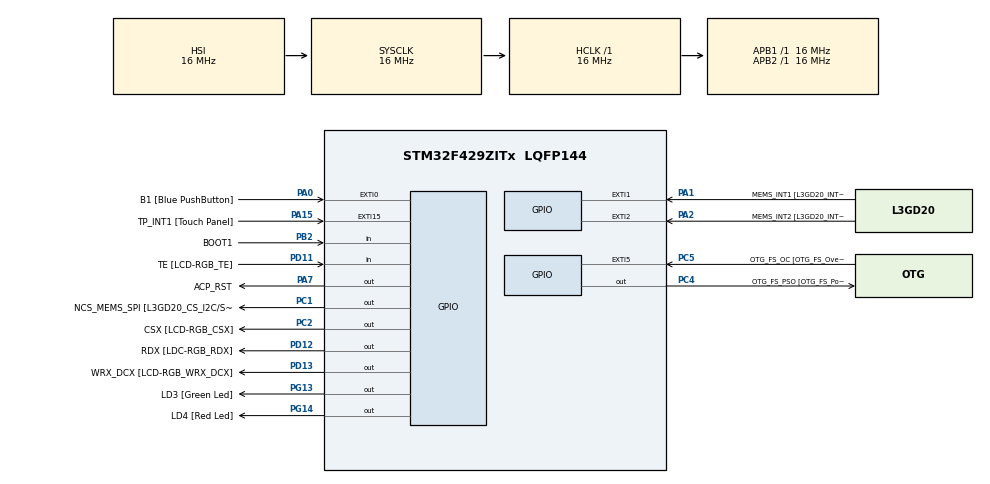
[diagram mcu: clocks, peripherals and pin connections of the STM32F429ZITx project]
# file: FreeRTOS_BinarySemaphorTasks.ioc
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Mcu.Family=STM32F4
Mcu.Name=STM32F429ZITx
Mcu.Package=LQFP144
NVIC.PriorityGroup=NVIC_PRIORITYGROUP_4
NVIC.TIM6_DAC_IRQn=true\:0\:0\:false\:false\:true\:false\:true\:true
NVIC.TimeBase=TIM6_DAC_IRQn
NVIC.TimeBaseIP=TIM6
PA0/WKUP.GPIO_Label=B1 [Blue PushButton]
PA0/WKUP.GPIO_ModeDefaultEXTI=GPIO_MODE_EVT_RISING
PA0/WKUP.GPIO_PuPd=GPIO_NOPULL
PA0/WKUP.Signal=GPXTI0
PA1.GPIO_Label=MEMS_INT1 [L3GD20_INT1]
PA1.GPIO_ModeDefaultEXTI=GPIO_MODE_EVT_RISING
PA1.GPIO_PuPd=GPIO_NOPULL
PA1.Signal=GPXTI1
PA10.GPIO_Label=STLINK_TX [STM32F103CBT6_PA2]
PA10.Signal=USART1_RX
PA11.GPIO_Label=R4
PA11.GPIO_Mode=GPIO_MODE_AF_PP
PA11.GPIO_PuPd=GPIO_NOPULL
PA11.GPIO_Speed=GPIO_SPEED_FREQ_LOW
PA11.Signal=LTDC_R4
PA12.GPIO_Label=R5
PA12.GPIO_Mode=GPIO_MODE_AF_PP
PA12.GPIO_PuPd=GPIO_NOPULL
PA12.GPIO_Speed=GPIO_SPEED_FREQ_LOW
PA12.Signal=LTDC_R5
PA13.GPIO_Label=SWDIO
PA13.Signal=SYS_JTMS-SWDIO
PA14.GPIO_Label=SWCLK
PA14.Signal=SYS_JTCK-SWCLK
PA15.GPIO_Label=TP_INT1 [Touch Panel]
PA15.GPIO_ModeDefaultEXTI=GPIO_MODE_EVT_RISING
PA15.GPIO_PuPd=GPIO_NOPULL
PA15.Signal=GPXTI15
PA2.GPIO_Label=MEMS_INT2 [L3GD20_INT2]
PA2.GPIO_ModeDefaultEXTI=GPIO_MODE_EVT_RISING
PA2.GPIO_PuPd=GPIO_NOPULL
PA2.Signal=GPXTI2
PA3.GPIO_Label=B5
PA3.GPIO_Mode=GPIO_MODE_AF_PP
PA3.GPIO_PuPd=GPIO_NOPULL
PA3.GPIO_Speed=GPIO_SPEED_FREQ_LOW
PA3.Signal=LTDC_B5
PA4.GPIO_Label=VSYNC
PA4.GPIO_Mode=GPIO_MODE_AF_PP
PA4.GPIO_PuPd=GPIO_NOPULL
PA4.GPIO_Speed=GPIO_SPEED_FREQ_LOW
PA4.Signal=LTDC_VSYNC
PA6.GPIO_Label=G2
PA6.GPIO_Mode=GPIO_MODE_AF_PP
PA6.GPIO_PuPd=GPIO_NOPULL
PA6.GPIO_Speed=GPIO_SPEED_FREQ_LOW
PA6.Signal=LTDC_G2
PA7.GPIO_Label=ACP_RST
PA7.GPIO_Mode=GPIO_MODE_OUTPUT_PP
PA7.GPIO_PuPd=GPIO_NOPULL
PA7.GPIO_Speed=GPIO_SPEED_FREQ_LOW
PA7.Signal=GPIO_Output
PA8.GPIO_Label=I2C3_SCL [ACP/RF_SCL]
PA8.GPIO_Mode=GPIO_MODE_AF_OD
PA8.GPIO_PuPd=GPIO_NOPULL
PA8.GPIO_Speed=GPIO_SPEED_FREQ_LOW
PA8.Signal=I2C3_SCL
PA9.GPIO_Label=STLINK_RX [STM32F103CBT6_PA3]
PA9.Signal=USART1_TX
PB0.GPIO_Label=R3
PB0.GPIO_Mode=GPIO_MODE_AF_PP
PB0.GPIO_PuPd=GPIO_NOPULL
PB0.GPIO_Speed=GPIO_SPEED_FREQ_LOW
PB0.Signal=LTDC_R3
PB1.GPIO_Label=R6
PB1.GPIO_Mode=GPIO_MODE_AF_PP
PB1.GPIO_PuPd=GPIO_NOPULL
PB1.GPIO_Speed=GPIO_SPEED_FREQ_LOW
PB1.Signal=LTDC_R6
PB10.GPIO_Label=G4
PB10.GPIO_Mode=GPIO_MODE_AF_PP
PB10.GPIO_PuPd=GPIO_NOPULL
PB10.GPIO_Speed=GPIO_SPEED_FREQ_LOW
PB10.Signal=LTDC_G4
PB11.GPIO_Label=G5
PB11.GPIO_Mode=GPIO_MODE_AF_PP
PB11.GPIO_PuPd=GPIO_NOPULL
PB11.GPIO_Speed=GPIO_SPEED_FREQ_LOW
PB11.Signal=LTDC_G5
PB12.GPIO_Label=OTG_HS_ID
PB12.GPIO_Mode=GPIO_MODE_AF_PP
PB12.GPIO_PuPd=GPIO_NOPULL
PB12.GPIO_Speed=GPIO_SPEED_FREQ_LOW
PB12.Signal=USB_OTG_HS_ID
PB13.GPIO_Label=VBUS_HS
PB13.GPIO_Mode=GPIO_MODE_INPUT
PB13.GPIO_PuPd=GPIO_NOPULL
PB13.Signal=USB_OTG_HS_VBUS
PB14.GPIO_Label=OTG_HS_DM
PB14.GPIO_Mode=GPIO_MODE_AF_PP
PB14.GPIO_PuPd=GPIO_NOPULL
PB14.GPIO_Speed=GPIO_SPEED_FREQ_LOW
PB14.Signal=USB_OTG_HS_DM
PB15.GPIO_Label=OTG_HS_DP
PB15.GPIO_Mode=GPIO_MODE_AF_PP
PB15.GPIO_PuPd=GPIO_NOPULL
PB15.GPIO_Speed=GPIO_SPEED_FREQ_LOW
PB15.Signal=USB_OTG_HS_DP
PB2/BOOT1.GPIO_Label=BOOT1
PB2/BOOT1.GPIO_Mode=GPIO_MODE_INPUT
PB2/BOOT1.GPIO_PuPd=GPIO_NOPULL
PB2/BOOT1.Signal=GPIO_Input
PB5.GPIO_Label=SDCKE1
PB5.GPIO_Mode=GPIO_MODE_AF_PP
PB5.GPIO_PuPd=GPIO_NOPULL
PB5.GPIO_Speed=GPIO_SPEED_FREQ_VERY_HIGH
PB5.Signal=FMC_SDCKE1
PB6.GPIO_Label=SDNE1 [SDRAM_CS]
PB6.GPIO_Mode=GPIO_MODE_AF_PP
PB6.GPIO_PuPd=GPIO_NOPULL
PB6.GPIO_Speed=GPIO_SPEED_FREQ_VERY_HIGH
PB6.Signal=FMC_SDNE1
PB8.GPIO_Label=B6
PB8.GPIO_Mode=GPIO_MODE_AF_PP
PB8.GPIO_PuPd=GPIO_NOPULL
PB8.GPIO_Speed=GPIO_SPEED_FREQ_LOW
PB8.Signal=LTDC_B6
PB9.GPIO_Label=B7
PB9.GPIO_Mode=GPIO_MODE_AF_PP
PB9.GPIO_PuPd=GPIO_NOPULL
PB9.GPIO_Speed=GPIO_SPEED_FREQ_LOW
PB9.Signal=LTDC_B7
PC0.GPIO_Label=SDNWE
PC0.GPIO_Mode=GPIO_MODE_AF_PP
PC0.GPIO_PuPd=GPIO_NOPULL
PC0.GPIO_Speed=GPIO_SPEED_FREQ_VERY_HIGH
PC0.Signal=FMC_SDNWE
PC1.GPIO_Label=NCS_MEMS_SPI [L3GD20_CS_I2C/SPI]
PC1.GPIO_Mode=GPIO_MODE_OUTPUT_PP
PC1.GPIO_PuPd=GPIO_NOPULL
PC1.GPIO_Speed=GPIO_SPEED_FREQ_LOW
PC1.Signal=GPIO_Output
PC10.GPIO_Label=R2
PC10.GPIO_Mode=GPIO_MODE_AF_PP
PC10.GPIO_PuPd=GPIO_NOPULL
PC10.GPIO_Speed=GPIO_SPEED_FREQ_LOW
PC10.Signal=LTDC_R2
PC14/OSC32_IN.GPIO_Label=PC14-OSC32_IN
PC14/OSC32_IN.Signal=RCC_OSC32_IN
PC15/OSC32_OUT.GPIO_Label=PC15-OSC32_OUT
PC15/OSC32_OUT.Signal=RCC_OSC32_OUT
PC2.GPIO_Label=CSX [LCD-RGB_CSX]
PC2.GPIO_Mode=GPIO_MODE_OUTPUT_PP
PC2.GPIO_PuPd=GPIO_NOPULL
PC2.GPIO_Speed=GPIO_SPEED_FREQ_LOW
PC2.Signal=GPIO_Output
PC4.GPIO_Label=OTG_FS_PSO [OTG_FS_PowerSwitchOn]
PC4.GPIO_Mode=GPIO_MODE_OUTPUT_PP
PC4.GPIO_PuPd=GPIO_NOPULL
PC4.GPIO_Speed=GPIO_SPEED_FREQ_LOW
PC4.Signal=GPIO_Output
PC5.GPIO_Label=OTG_FS_OC [OTG_FS_OverCurrent]
PC5.GPIO_ModeDefaultEXTI=GPIO_MODE_EVT_RISING
PC5.Signal=GPXTI5
PC6.GPIO_Label=HSYNC
PC6.GPIO_Mode=GPIO_MODE_AF_PP
PC6.GPIO_PuPd=GPIO_NOPULL
PC6.GPIO_Speed=GPIO_SPEED_FREQ_LOW
PC6.Signal=LTDC_HSYNC
PC7.GPIO_Label=G6
PC7.GPIO_Mode=GPIO_MODE_AF_PP
PC7.GPIO_PuPd=GPIO_NOPULL
PC7.GPIO_Speed=GPIO_SPEED_FREQ_LOW
PC7.Signal=LTDC_G6
PC9.GPIO_Label=I2C3_SDA [ACP/RF_SDA]
PC9.GPIO_Mode=GPIO_MODE_AF_OD
PC9.GPIO_PuPd=GPIO_NOPULL
PC9.GPIO_Speed=GPIO_SPEED_FREQ_LOW
PC9.Signal=I2C3_SDA
PD0.GPIO_Label=D2
PD0.GPIO_Mode=GPIO_MODE_AF_PP
PD0.GPIO_PuPd=GPIO_NOPULL
PD0.GPIO_Speed=GPIO_SPEED_FREQ_VERY_HIGH
PD0.Signal=FMC_D2_DA2
PD1.GPIO_Label=D3
PD1.GPIO_Mode=GPIO_MODE_AF_PP
PD1.GPIO_PuPd=GPIO_NOPULL
PD1.GPIO_Speed=GPIO_SPEED_FREQ_VERY_HIGH
PD1.Signal=FMC_D3_DA3
PD10.GPIO_Label=D15
PD10.GPIO_Mode=GPIO_MODE_AF_PP
PD10.GPIO_PuPd=GPIO_NOPULL
PD10.GPIO_Speed=GPIO_SPEED_FREQ_VERY_HIGH
PD10.Signal=FMC_D15_DA15
PD11.GPIO_Label=TE [LCD-RGB_TE]
PD11.GPIO_Mode=GPIO_MODE_INPUT
PD11.GPIO_PuPd=GPIO_NOPULL
PD11.Signal=GPIO_Input
PD12.GPIO_Label=RDX [LDC-RGB_RDX]
PD12.GPIO_Mode=GPIO_MODE_OUTPUT_PP
PD12.GPIO_PuPd=GPIO_NOPULL
PD12.GPIO_Speed=GPIO_SPEED_FREQ_LOW
PD12.Signal=GPIO_Output
PD13.GPIO_Label=WRX_DCX [LCD-RGB_WRX_DCX]
PD13.GPIO_Mode=GPIO_MODE_OUTPUT_PP
PD13.GPIO_PuPd=GPIO_NOPULL
PD13.GPIO_Speed=GPIO_SPEED_FREQ_LOW
PD13.Signal=GPIO_Output
PD14.GPIO_Label=D0
PD14.GPIO_Mode=GPIO_MODE_AF_PP
PD14.GPIO_PuPd=GPIO_NOPULL
PD14.GPIO_Speed=GPIO_SPEED_FREQ_VERY_HIGH
PD14.Signal=FMC_D0_DA0
PD15.GPIO_Label=D1
PD15.GPIO_Mode=GPIO_MODE_AF_PP
PD15.GPIO_PuPd=GPIO_NOPULL
PD15.GPIO_Speed=GPIO_SPEED_FREQ_VERY_HIGH
PD15.Signal=FMC_D1_DA1
PD3.GPIO_Label=G7
PD3.GPIO_Mode=GPIO_MODE_AF_PP
PD3.GPIO_PuPd=GPIO_NOPULL
PD3.GPIO_Speed=GPIO_SPEED_FREQ_LOW
PD3.Signal=LTDC_G7
PD6.GPIO_Label=B2
PD6.GPIO_Mode=GPIO_MODE_AF_PP
PD6.GPIO_PuPd=GPIO_NOPULL
PD6.GPIO_Speed=GPIO_SPEED_FREQ_LOW
PD6.Signal=LTDC_B2
PD8.GPIO_Label=D13
PD8.GPIO_Mode=GPIO_MODE_AF_PP
PD8.GPIO_PuPd=GPIO_NOPULL
PD8.GPIO_Speed=GPIO_SPEED_FREQ_VERY_HIGH
PD8.Signal=FMC_D13_DA13
PD9.GPIO_Label=D14
PD9.GPIO_Mode=GPIO_MODE_AF_PP
PD9.GPIO_PuPd=GPIO_NOPULL
PD9.GPIO_Speed=GPIO_SPEED_FREQ_VERY_HIGH
PD9.Signal=FMC_D14_DA14
PE0.GPIO_Label=NBL0 [SDRAM_LDQM]
PE0.GPIO_Mode=GPIO_MODE_AF_PP
PE0.GPIO_PuPd=GPIO_NOPULL
PE0.GPIO_Speed=GPIO_SPEED_FREQ_VERY_HIGH
PE0.Signal=FMC_NBL0
PE1.GPIO_Label=NBL1 [SDRAM_UDQM]
PE1.GPIO_Mode=GPIO_MODE_AF_PP
PE1.GPIO_PuPd=GPIO_NOPULL
PE1.GPIO_Speed=GPIO_SPEED_FREQ_VERY_HIGH
PE1.Signal=FMC_NBL1
PE10.GPIO_Label=D7
PE10.GPIO_Mode=GPIO_MODE_AF_PP
PE10.GPIO_PuPd=GPIO_NOPULL
PE10.GPIO_Speed=GPIO_SPEED_FREQ_VERY_HIGH
PE10.Signal=FMC_D7_DA7
PE11.GPIO_Label=D8
PE11.GPIO_Mode=GPIO_MODE_AF_PP
PE11.GPIO_PuPd=GPIO_NOPULL
PE11.GPIO_Speed=GPIO_SPEED_FREQ_VERY_HIGH
PE11.Signal=FMC_D8_DA8
PE12.GPIO_Label=D9
PE12.GPIO_Mode=GPIO_MODE_AF_PP
PE12.GPIO_PuPd=GPIO_NOPULL
PE12.GPIO_Speed=GPIO_SPEED_FREQ_VERY_HIGH
PE12.Signal=FMC_D9_DA9
PE13.GPIO_Label=D10
PE13.GPIO_Mode=GPIO_MODE_AF_PP
PE13.GPIO_PuPd=GPIO_NOPULL
PE13.GPIO_Speed=GPIO_SPEED_FREQ_VERY_HIGH
PE13.Signal=FMC_D10_DA10
PE14.GPIO_Label=D11
PE14.GPIO_Mode=GPIO_MODE_AF_PP
PE14.GPIO_PuPd=GPIO_NOPULL
PE14.GPIO_Speed=GPIO_SPEED_FREQ_VERY_HIGH
PE14.Signal=FMC_D11_DA11
PE15.GPIO_Label=D12
PE15.GPIO_Mode=GPIO_MODE_AF_PP
PE15.GPIO_PuPd=GPIO_NOPULL
PE15.GPIO_Speed=GPIO_SPEED_FREQ_VERY_HIGH
PE15.Signal=FMC_D12_DA12
PE7.GPIO_Label=D4
PE7.GPIO_Mode=GPIO_MODE_AF_PP
PE7.GPIO_PuPd=GPIO_NOPULL
PE7.GPIO_Speed=GPIO_SPEED_FREQ_VERY_HIGH
PE7.Signal=FMC_D4_DA4
PE8.GPIO_Label=D5
PE8.GPIO_Mode=GPIO_MODE_AF_PP
PE8.GPIO_PuPd=GPIO_NOPULL
PE8.GPIO_Speed=GPIO_SPEED_FREQ_VERY_HIGH
PE8.Signal=FMC_D5_DA5
PE9.GPIO_Label=D6
PE9.GPIO_Mode=GPIO_MODE_AF_PP
PE9.GPIO_PuPd=GPIO_NOPULL
PE9.GPIO_Speed=GPIO_SPEED_FREQ_VERY_HIGH
PE9.Signal=FMC_D6_DA6
PF0.GPIO_Label=A0
PF0.GPIO_Mode=GPIO_MODE_AF_PP
PF0.GPIO_PuPd=GPIO_NOPULL
PF0.GPIO_Speed=GPIO_SPEED_FREQ_VERY_HIGH
PF0.Signal=FMC_A0
PF1.GPIO_Label=A1
PF1.GPIO_Mode=GPIO_MODE_AF_PP
PF1.GPIO_PuPd=GPIO_NOPULL
PF1.GPIO_Speed=GPIO_SPEED_FREQ_VERY_HIGH
PF1.Signal=FMC_A1
PF10.GPIO_Label=ENABLE [LCD-RGB_ENABLE]
PF10.GPIO_Mode=GPIO_MODE_AF_PP
PF10.GPIO_PuPd=GPIO_NOPULL
PF10.GPIO_Speed=GPIO_SPEED_FREQ_LOW
PF10.Signal=LTDC_DE
PF11.GPIO_Label=SDNRAS
PF11.GPIO_Mode=GPIO_MODE_AF_PP
PF11.GPIO_PuPd=GPIO_NOPULL
PF11.GPIO_Speed=GPIO_SPEED_FREQ_VERY_HIGH
PF11.Signal=FMC_SDNRAS
PF12.GPIO_Label=A6
PF12.GPIO_Mode=GPIO_MODE_AF_PP
PF12.GPIO_PuPd=GPIO_NOPULL
PF12.GPIO_Speed=GPIO_SPEED_FREQ_VERY_HIGH
PF12.Signal=FMC_A6
PF13.GPIO_Label=A7
PF13.GPIO_Mode=GPIO_MODE_AF_PP
PF13.GPIO_PuPd=GPIO_NOPULL
PF13.GPIO_Speed=GPIO_SPEED_FREQ_VERY_HIGH
PF13.Signal=FMC_A7
PF14.GPIO_Label=A8
PF14.GPIO_Mode=GPIO_MODE_AF_PP
PF14.GPIO_PuPd=GPIO_NOPULL
PF14.GPIO_Speed=GPIO_SPEED_FREQ_VERY_HIGH
PF14.Signal=FMC_A8
PF15.GPIO_Label=A9
PF15.GPIO_Mode=GPIO_MODE_AF_PP
PF15.GPIO_PuPd=GPIO_NOPULL
PF15.GPIO_Speed=GPIO_SPEED_FREQ_VERY_HIGH
PF15.Signal=FMC_A9
PF2.GPIO_Label=A2
PF2.GPIO_Mode=GPIO_MODE_AF_PP
PF2.GPIO_PuPd=GPIO_NOPULL
PF2.GPIO_Speed=GPIO_SPEED_FREQ_VERY_HIGH
PF2.Signal=FMC_A2
PF3.GPIO_Label=A3
PF3.GPIO_Mode=GPIO_MODE_AF_PP
PF3.GPIO_PuPd=GPIO_NOPULL
PF3.GPIO_Speed=GPIO_SPEED_FREQ_VERY_HIGH
PF3.Signal=FMC_A3
PF4.GPIO_Label=A4
PF4.GPIO_Mode=GPIO_MODE_AF_PP
PF4.GPIO_PuPd=GPIO_NOPULL
PF4.GPIO_Speed=GPIO_SPEED_FREQ_VERY_HIGH
PF4.Signal=FMC_A4
PF5.GPIO_Label=A5
PF5.GPIO_Mode=GPIO_MODE_AF_PP
PF5.GPIO_PuPd=GPIO_NOPULL
PF5.GPIO_Speed=GPIO_SPEED_FREQ_VERY_HIGH
PF5.Signal=FMC_A5
PF7.GPIO_Label=SPI5_SCK [L3GD20_SCL/SPC]
PF7.GPIO_Mode=GPIO_MODE_AF_PP
PF7.GPIO_PuPd=GPIO_NOPULL
PF7.GPIO_Speed=GPIO_SPEED_FREQ_LOW
PF7.Signal=SPI5_SCK
PF8.GPIO_Label=SPI5_MISO [L3GD20_SDO]
PF8.GPIO_Mode=GPIO_MODE_AF_PP
PF8.GPIO_PuPd=GPIO_NOPULL
PF8.GPIO_Speed=GPIO_SPEED_FREQ_LOW
PF8.Signal=SPI5_MISO
PF9.GPIO_Label=SPI5_MOSI [L3GD20_SDA/SDI/SDO]
PF9.GPIO_Mode=GPIO_MODE_AF_PP
PF9.GPIO_PuPd=GPIO_NOPULL
PF9.GPIO_Speed=GPIO_SPEED_FREQ_LOW
PF9.Signal=SPI5_MOSI
PG0.GPIO_Label=A10
PG0.GPIO_Mode=GPIO_MODE_AF_PP
PG0.GPIO_PuPd=GPIO_NOPULL
PG0.GPIO_Speed=GPIO_SPEED_FREQ_VERY_HIGH
PG0.Signal=FMC_A10
PG1.GPIO_Label=A11
PG1.GPIO_Mode=GPIO_MODE_AF_PP
PG1.GPIO_PuPd=GPIO_NOPULL
PG1.GPIO_Speed=GPIO_SPEED_FREQ_VERY_HIGH
PG1.Signal=FMC_A11
PG10.GPIO_Label=G3
PG10.GPIO_Mode=GPIO_MODE_AF_PP
PG10.GPIO_PuPd=GPIO_NOPULL
PG10.GPIO_Speed=GPIO_SPEED_FREQ_LOW
PG10.Signal=LTDC_G3
PG11.GPIO_Label=B3
PG11.GPIO_Mode=GPIO_MODE_AF_PP
PG11.GPIO_PuPd=GPIO_NOPULL
PG11.GPIO_Speed=GPIO_SPEED_FREQ_LOW
PG11.Signal=LTDC_B3
PG12.GPIO_Label=B4
PG12.GPIO_Mode=GPIO_MODE_AF_PP
PG12.GPIO_PuPd=GPIO_NOPULL
PG12.GPIO_Speed=GPIO_SPEED_FREQ_LOW
PG12.Signal=LTDC_B4
PG13.GPIO_Label=LD3 [Green Led]
PG13.GPIO_Mode=GPIO_MODE_OUTPUT_PP
PG13.GPIO_PuPd=GPIO_NOPULL
PG13.GPIO_Speed=GPIO_SPEED_FREQ_LOW
PG13.Signal=GPIO_Output
PG14.GPIO_Label=LD4 [Red Led]
PG14.GPIO_Mode=GPIO_MODE_OUTPUT_PP
PG14.GPIO_PuPd=GPIO_NOPULL
PG14.GPIO_Speed=GPIO_SPEED_FREQ_LOW
PG14.Signal=GPIO_Output
PG15.GPIO_Label=SDNCAS
PG15.GPIO_Mode=GPIO_MODE_AF_PP
PG15.GPIO_PuPd=GPIO_NOPULL
PG15.GPIO_Speed=GPIO_SPEED_FREQ_VERY_HIGH
PG15.Signal=FMC_SDNCAS
PG4.GPIO_Label=BA0
PG4.GPIO_Mode=GPIO_MODE_AF_PP
PG4.GPIO_PuPd=GPIO_NOPULL
PG4.GPIO_Speed=GPIO_SPEED_FREQ_VERY_HIGH
PG4.Signal=FMC_A14_BA0
PG5.GPIO_Label=BA1
PG5.GPIO_Mode=GPIO_MODE_AF_PP
PG5.GPIO_PuPd=GPIO_NOPULL
PG5.GPIO_Speed=GPIO_SPEED_FREQ_VERY_HIGH
PG5.Signal=FMC_A15_BA1
PG6.GPIO_Label=R7
PG6.GPIO_Mode=GPIO_MODE_AF_PP
PG6.GPIO_PuPd=GPIO_NOPULL
PG6.GPIO_Speed=GPIO_SPEED_FREQ_LOW
PG6.Signal=LTDC_R7
PG7.GPIO_Label=DOTCLK [LCT-RGB_DOTCLK]
PG7.GPIO_Mode=GPIO_MODE_AF_PP
PG7.GPIO_PuPd=GPIO_NOPULL
PG7.GPIO_Speed=GPIO_SPEED_FREQ_LOW
PG7.Signal=LTDC_CLK
PG8.GPIO_Label=SDCLK
PG8.GPIO_Mode=GPIO_MODE_AF_PP
PG8.GPIO_PuPd=GPIO_NOPULL
PG8.GPIO_Speed=GPIO_SPEED_FREQ_VERY_HIGH
PG8.Signal=FMC_SDCLK
PH0/OSC_IN.GPIO_Label=PH0-OSC_IN
PH0/OSC_IN.Signal=RCC_OSC_IN
PH1/OSC_OUT.GPIO_Label=PH1-OSC_OUT
PH1/OSC_OUT.Signal=RCC_OSC_OUT
ProjectManager.HeapSize=0x200
ProjectManager.StackSize=0x400
ProjectManager.TargetToolchain=STM32CubeIDE
RCC.48MHZClocksFreq_Value=14285714.285714285
RCC.AHBFreq_Value=16000000
RCC.APB1Freq_Value=16000000
RCC.APB1TimFreq_Value=16000000
RCC.APB2Freq_Value=16000000
RCC.APB2TimFreq_Value=16000000
RCC.CortexFreq_Value=16000000
RCC.HCLKFreq_Value=16000000
RCC.HSE_VALUE=8000000
RCC.HSI_VALUE=16000000
RCC.LSE_VALUE=32768
RCC.PLLM=8
RCC.PLLN=50
RCC.PLLP=RCC_PLLP_DIV4
RCC.PLLQ=7
RCC.SYSCLKFreq_VALUE=16000000
RCC.VCOOutputFreq_Value=100000000
SH.FMC_A0.0=FMC_A0
SH.FMC_A1.0=FMC_A1
SH.FMC_A10.0=FMC_A10
SH.FMC_A11.0=FMC_A11
SH.FMC_A14_BA0.0=FMC_BA0
SH.FMC_A15_BA1.0=FMC_BA1
SH.FMC_A2.0=FMC_A2
SH.FMC_A3.0=FMC_A3
SH.FMC_A4.0=FMC_A4
SH.FMC_A5.0=FMC_A5
SH.FMC_A6.0=FMC_A6
SH.FMC_A7.0=FMC_A7
SH.FMC_A8.0=FMC_A8
SH.FMC_A9.0=FMC_A9
SH.FMC_D0_DA0.0=FMC_D0
SH.FMC_D10_DA10.0=FMC_D10
SH.FMC_D11_DA11.0=FMC_D11
SH.FMC_D12_DA12.0=FMC_D12
SH.FMC_D13_DA13.0=FMC_D13
SH.FMC_D14_DA14.0=FMC_D14
SH.FMC_D15_DA15.0=FMC_D15
SH.FMC_D1_DA1.0=FMC_D1
SH.FMC_D2_DA2.0=FMC_D2
SH.FMC_D3_DA3.0=FMC_D3
SH.FMC_D4_DA4.0=FMC_D4
SH.FMC_D5_DA5.0=FMC_D5
SH.FMC_D6_DA6.0=FMC_D6
SH.FMC_D7_DA7.0=FMC_D7
SH.FMC_D8_DA8.0=FMC_D8
SH.FMC_D9_DA9.0=FMC_D9
SH.FMC_NBL0.0=FMC_NBL0
SH.FMC_NBL1.0=FMC_NBL1
SH.FMC_SDCLK.0=FMC_SDCLK
SH.FMC_SDNCAS.0=FMC_SDNCAS
SH.FMC_SDNRAS.0=FMC_SDNRAS
SH.FMC_SDNWE.0=FMC_SDNWE
VP_SYS_VS_tim6.Mode=TIM6
board=STM32F429I-DISC1

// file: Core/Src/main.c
/* USER CODE BEGIN Header */
/**
  ******************************************************************************
  * @file           : main.c
  * @brief          : Main program body
  ******************************************************************************
  * @attention
  *
  * Copyright (c) 2022 STMicroelectronics.
  * All rights reserved.
  *
  * This software is licensed under terms that can be found in the LICENSE file
  * in the root directory of this software component.
  * If no LICENSE file comes with this software, it is provided AS-IS.
  *
  ******************************************************************************
  */
/* USER CODE END Header */
#include "main.h"

/* USER CODE BEGIN Includes */
#include "FreeRTOS.h"
#include "task.h"
#include <stdio.h>
#include <stdlib.h>
#include "queue.h"
#include "semphr.h"
#include "SEGGER_SYSVIEW.h"
/* USER CODE END Includes */

/* USER CODE BEGIN PM */
#define DWT_CTRL            (*(volatile uint32_t*)0xE0001000u)
/* USER CODE END PM */

void SystemClock_Config(void);
static void MX_GPIO_Init(void);
/* USER CODE BEGIN PFP */
static void Manager_Task( void* parameter);
static void Employee_Task( void* parameter);
/* USER CODE END PFP */

/* USER CODE BEGIN 0 */
/* Declare a variable of type xSemaphoreHandle.  This is used to reference the
semaphore that is used to synchronize both manager and employee task */
xSemaphoreHandle xWork;

/* this is the queue which manager uses to put the work ticket id */
xQueueHandle xWorkQueue;

char usr_msg[100] = { 0 };
/* USER CODE END 0 */

int main(void)
{
  /* USER CODE BEGIN 1 */
  TaskHandle_t manager_task_handle;
  TaskHandle_t employee_task_handle;
  BaseType_t status;
  /* USER CODE END 1 */

  /* MCU Configuration--------------------------------------------------------*/

  /* Reset of all peripherals, Initializes the Flash interface and the Systick. */
  HAL_Init();

  /* Configure the system clock */
  SystemClock_Config();

  /* Initialize all configured peripherals */
  MX_GPIO_Init();
  /* USER CODE BEGIN 2 */
  /* Enable the Cycle Counter i.e. CYCCNT */
  DWT_CTRL |= (0x01 << 0);

  /* SystemView should be configured and start before using any FreeRTOS API's */
  SEGGER_SYSVIEW_Conf();
  SEGGER_SYSVIEW_Start();

  /* Before a semaphore is used it must be explicitly created.
  In this example a binary semaphore is created . */
  vSemaphoreCreateBinary( xWork );

  /* The queue is created to hold a maximum of 1 Element. */
  xWorkQueue = xQueueCreate( 1, sizeof( unsigned int ) );

  /* Check the semaphore and queue was created successfully. */
  if( (xWork != NULL) && (xWorkQueue != NULL) )
  {
    /* Create Manager Task */
    status = xTaskCreate(Manager_Task, "Manager", 200, NULL, 3, &manager_task_handle);
    configASSERT(status == pdPASS);
    /* Create Employee Task */
    status = xTaskCreate(Employee_Task, "Employee", 200, NULL, 1, &employee_task_handle);
    configASSERT(status == pdPASS);

    /* Start the Scheduler */
    vTaskStartScheduler();
    /* control shouldn't come here, if it is coming then there is some problem */
    /* this failure can happen due to insufficient memory in heap */
  }

  /* USER CODE END 2 */

  /* Infinite loop */
  while (1)
  {

  }
}

void SystemClock_Config(void)
{
  RCC_OscInitTypeDef RCC_OscInitStruct = {0};
  RCC_ClkInitTypeDef RCC_ClkInitStruct = {0};

  /** Configure the main internal regulator output voltage
  */
  __HAL_RCC_PWR_CLK_ENABLE();
  __HAL_PWR_VOLTAGESCALING_CONFIG(PWR_REGULATOR_VOLTAGE_SCALE3);

  /** Initializes the RCC Oscillators according to the specified parameters
  * in the RCC_OscInitTypeDef structure.
  */
  RCC_OscInitStruct.OscillatorType = RCC_OSCILLATORTYPE_HSI;
  RCC_OscInitStruct.HSIState = RCC_HSI_ON;
  RCC_OscInitStruct.HSICalibrationValue = RCC_HSICALIBRATION_DEFAULT;
  RCC_OscInitStruct.PLL.PLLState = RCC_PLL_NONE;
  if (HAL_RCC_OscConfig(&RCC_OscInitStruct) != HAL_OK)
  {
    Error_Handler();
  }

  /** Initializes the CPU, AHB and APB buses clocks
  */
  RCC_ClkInitStruct.ClockType = RCC_CLOCKTYPE_HCLK|RCC_CLOCKTYPE_SYSCLK
                              |RCC_CLOCKTYPE_PCLK1|RCC_CLOCKTYPE_PCLK2;
  RCC_ClkInitStruct.SYSCLKSource = RCC_SYSCLKSOURCE_HSI;
  RCC_ClkInitStruct.AHBCLKDivider = RCC_SYSCLK_DIV1;
  RCC_ClkInitStruct.APB1CLKDivider = RCC_HCLK_DIV1;
  RCC_ClkInitStruct.APB2CLKDivider = RCC_HCLK_DIV1;

  if (HAL_RCC_ClockConfig(&RCC_ClkInitStruct, FLASH_LATENCY_0) != HAL_OK)
  {
    Error_Handler();
  }
}

static void MX_GPIO_Init(void)
{
  GPIO_InitTypeDef GPIO_InitStruct = {0};

  /* GPIO Ports Clock Enable */
  __HAL_RCC_GPIOC_CLK_ENABLE();
  __HAL_RCC_GPIOF_CLK_ENABLE();
  __HAL_RCC_GPIOH_CLK_ENABLE();
  __HAL_RCC_GPIOA_CLK_ENABLE();
  __HAL_RCC_GPIOB_CLK_ENABLE();
  __HAL_RCC_GPIOG_CLK_ENABLE();
  __HAL_RCC_GPIOE_CLK_ENABLE();
  __HAL_RCC_GPIOD_CLK_ENABLE();

  /*Configure GPIO pin Output Level */
  HAL_GPIO_WritePin(GPIOC, NCS_MEMS_SPI_Pin|CSX_Pin|OTG_FS_PSO_Pin, GPIO_PIN_RESET);

  /*Configure GPIO pin Output Level */
  HAL_GPIO_WritePin(ACP_RST_GPIO_Port, ACP_RST_Pin, GPIO_PIN_RESET);

  /*Configure GPIO pin Output Level */
  HAL_GPIO_WritePin(GPIOD, RDX_Pin|WRX_DCX_Pin, GPIO_PIN_RESET);

  /*Configure GPIO pin Output Level */
  HAL_GPIO_WritePin(GPIOG, LD3_Pin|LD4_Pin, GPIO_PIN_RESET);

  /*Configure GPIO pins : A0_Pin A1_Pin A2_Pin A3_Pin
                           A4_Pin A5_Pin SDNRAS_Pin A6_Pin
                           A7_Pin A8_Pin A9_Pin */
  GPIO_InitStruct.Pin = A0_Pin|A1_Pin|A2_Pin|A3_Pin
                          |A4_Pin|A5_Pin|SDNRAS_Pin|A6_Pin
                          |A7_Pin|A8_Pin|A9_Pin;
  GPIO_InitStruct.Mode = GPIO_MODE_AF_PP;
  GPIO_InitStruct.Pull = GPIO_NOPULL;
  GPIO_InitStruct.Speed = GPIO_SPEED_FREQ_VERY_HIGH;
  GPIO_InitStruct.Alternate = GPIO_AF12_FMC;
  HAL_GPIO_Init(GPIOF, &GPIO_InitStruct);

  /*Configure GPIO pins : SPI5_SCK_Pin SPI5_MISO_Pin SPI5_MOSI_Pin */
  GPIO_InitStruct.Pin = SPI5_SCK_Pin|SPI5_MISO_Pin|SPI5_MOSI_Pin;
  GPIO_InitStruct.Mode = GPIO_MODE_AF_PP;
  GPIO_InitStruct.Pull = GPIO_NOPULL;
  GPIO_InitStruct.Speed = GPIO_SPEED_FREQ_LOW;
  GPIO_InitStruct.Alternate = GPIO_AF5_SPI5;
  HAL_GPIO_Init(GPIOF, &GPIO_InitStruct);

  /*Configure GPIO pin : ENABLE_Pin */
  GPIO_InitStruct.Pin = ENABLE_Pin;
  GPIO_InitStruct.Mode = GPIO_MODE_AF_PP;
  GPIO_InitStruct.Pull = GPIO_NOPULL;
  GPIO_InitStruct.Speed = GPIO_SPEED_FREQ_LOW;
  GPIO_InitStruct.Alternate = GPIO_AF14_LTDC;
  HAL_GPIO_Init(ENABLE_GPIO_Port, &GPIO_InitStruct);

  /*Configure GPIO pin : SDNWE_Pin */
  GPIO_InitStruct.Pin = SDNWE_Pin;
  GPIO_InitStruct.Mode = GPIO_MODE_AF_PP;
  GPIO_InitStruct.Pull = GPIO_NOPULL;
  GPIO_InitStruct.Speed = GPIO_SPEED_FREQ_VERY_HIGH;
  GPIO_InitStruct.Alternate = GPIO_AF12_FMC;
  HAL_GPIO_Init(SDNWE_GPIO_Port, &GPIO_InitStruct);

  /*Configure GPIO pins : NCS_MEMS_SPI_Pin CSX_Pin OTG_FS_PSO_Pin */
  GPIO_InitStruct.Pin = NCS_MEMS_SPI_Pin|CSX_Pin|OTG_FS_PSO_Pin;
  GPIO_InitStruct.Mode = GPIO_MODE_OUTPUT_PP;
  GPIO_InitStruct.Pull = GPIO_NOPULL;
  GPIO_InitStruct.Speed = GPIO_SPEED_FREQ_LOW;
  HAL_GPIO_Init(GPIOC, &GPIO_InitStruct);

  /*Configure GPIO pins : B1_Pin MEMS_INT1_Pin MEMS_INT2_Pin TP_INT1_Pin */
  GPIO_InitStruct.Pin = B1_Pin|MEMS_INT1_Pin|MEMS_INT2_Pin|TP_INT1_Pin;
  GPIO_InitStruct.Mode = GPIO_MODE_EVT_RISING;
  GPIO_InitStruct.Pull = GPIO_NOPULL;
  HAL_GPIO_Init(GPIOA, &GPIO_InitStruct);

  /*Configure GPIO pins : B5_Pin VSYNC_Pin G2_Pin R4_Pin
                           R5_Pin */
  GPIO_InitStruct.Pin = B5_Pin|VSYNC_Pin|G2_Pin|R4_Pin
                          |R5_Pin;
  GPIO_InitStruct.Mode = GPIO_MODE_AF_PP;
  GPIO_InitStruct.Pull = GPIO_NOPULL;
  GPIO_InitStruct.Speed = GPIO_SPEED_FREQ_LOW;
  GPIO_InitStruct.Alternate = GPIO_AF14_LTDC;
  HAL_GPIO_Init(GPIOA, &GPIO_InitStruct);

  /*Configure GPIO pin : ACP_RST_Pin */
  GPIO_InitStruct.Pin = ACP_RST_Pin;
  GPIO_InitStruct.Mode = GPIO_MODE_OUTPUT_PP;
  GPIO_InitStruct.Pull = GPIO_NOPULL;
  GPIO_InitStruct.Speed = GPIO_SPEED_FREQ_LOW;
  HAL_GPIO_Init(ACP_RST_GPIO_Port, &GPIO_InitStruct);

  /*Configure GPIO pin : OTG_FS_OC_Pin */
  GPIO_InitStruct.Pin = OTG_FS_OC_Pin;
  GPIO_InitStruct.Mode = GPIO_MODE_EVT_RISING;
  GPIO_InitStruct.Pull = GPIO_NOPULL;
  HAL_GPIO_Init(OTG_FS_OC_GPIO_Port, &GPIO_InitStruct);

  /*Configure GPIO pins : R3_Pin R6_Pin */
  GPIO_InitStruct.Pin = R3_Pin|R6_Pin;
  GPIO_InitStruct.Mode = GPIO_MODE_AF_PP;
  GPIO_InitStruct.Pull = GPIO_NOPULL;
  GPIO_InitStruct.Speed = GPIO_SPEED_FREQ_LOW;
  GPIO_InitStruct.Alternate = GPIO_AF9_LTDC;
  HAL_GPIO_Init(GPIOB, &GPIO_InitStruct);

  /*Configure GPIO pin : BOOT1_Pin */
  GPIO_InitStruct.Pin = BOOT1_Pin;
  GPIO_InitStruct.Mode = GPIO_MODE_INPUT;
  GPIO_InitStruct.Pull = GPIO_NOPULL;
  HAL_GPIO_Init(BOOT1_GPIO_Port, &GPIO_InitStruct);

  /*Configure GPIO pins : A10_Pin A11_Pin BA0_Pin BA1_Pin
                           SDCLK_Pin SDNCAS_Pin */
  GPIO_InitStruct.Pin = A10_Pin|A11_Pin|BA0_Pin|BA1_Pin
                          |SDCLK_Pin|SDNCAS_Pin;
  GPIO_InitStruct.Mode = GPIO_MODE_AF_PP;
  GPIO_InitStruct.Pull = GPIO_NOPULL;
  GPIO_InitStruct.Speed = GPIO_SPEED_FREQ_VERY_HIGH;
  GPIO_InitStruct.Alternate = GPIO_AF12_FMC;
  HAL_GPIO_Init(GPIOG, &GPIO_InitStruct);

  /*Configure GPIO pins : D4_Pin D5_Pin D6_Pin D7_Pin
                           D8_Pin D9_Pin D10_Pin D11_Pin
                           D12_Pin NBL0_Pin NBL1_Pin */
  GPIO_InitStruct.Pin = D4_Pin|D5_Pin|D6_Pin|D7_Pin
                          |D8_Pin|D9_Pin|D10_Pin|D11_Pin
                          |D12_Pin|NBL0_Pin|NBL1_Pin;
  GPIO_InitStruct.Mode = GPIO_MODE_AF_PP;
  GPIO_InitStruct.Pull = GPIO_NOPULL;
  GPIO_InitStruct.Speed = GPIO_SPEED_FREQ_VERY_HIGH;
  GPIO_InitStruct.Alternate = GPIO_AF12_FMC;
  HAL_GPIO_Init(GPIOE, &GPIO_InitStruct);

  /*Configure GPIO pins : G4_Pin G5_Pin B6_Pin B7_Pin */
  GPIO_InitStruct.Pin = G4_Pin|G5_Pin|B6_Pin|B7_Pin;
  GPIO_InitStruct.Mode = GPIO_MODE_AF_PP;
  GPIO_InitStruct.Pull = GPIO_NOPULL;
  GPIO_InitStruct.Speed = GPIO_SPEED_FREQ_LOW;
  GPIO_InitStruct.Alternate = GPIO_AF14_LTDC;
  HAL_GPIO_Init(GPIOB, &GPIO_InitStruct);

  /*Configure GPIO pins : OTG_HS_ID_Pin OTG_HS_DM_Pin OTG_HS_DP_Pin */
  GPIO_InitStruct.Pin = OTG_HS_ID_Pin|OTG_HS_DM_Pin|OTG_HS_DP_Pin;
  GPIO_InitStruct.Mode = GPIO_MODE_AF_PP;
  GPIO_InitStruct.Pull = GPIO_NOPULL;
  GPIO_InitStruct.Speed = GPIO_SPEED_FREQ_LOW;
  GPIO_InitStruct.Alternate = GPIO_AF12_OTG_HS_FS;
  HAL_GPIO_Init(GPIOB, &GPIO_InitStruct);

  /*Configure GPIO pin : VBUS_HS_Pin */
  GPIO_InitStruct.Pin = VBUS_HS_Pin;
  GPIO_InitStruct.Mode = GPIO_MODE_INPUT;
  GPIO_InitStruct.Pull = GPIO_NOPULL;
  HAL_GPIO_Init(VBUS_HS_GPIO_Port, &GPIO_InitStruct);

  /*Configure GPIO pins : D13_Pin D14_Pin D15_Pin D0_Pin
                           D1_Pin D2_Pin D3_Pin */
  GPIO_InitStruct.Pin = D13_Pin|D14_Pin|D15_Pin|D0_Pin
                          |D1_Pin|D2_Pin|D3_Pin;
  GPIO_InitStruct.Mode = GPIO_MODE_AF_PP;
  GPIO_InitStruct.Pull = GPIO_NOPULL;
  GPIO_InitStruct.Speed = GPIO_SPEED_FREQ_VERY_HIGH;
  GPIO_InitStruct.Alternate = GPIO_AF12_FMC;
  HAL_GPIO_Init(GPIOD, &GPIO_InitStruct);

  /*Configure GPIO pin : TE_Pin */
  GPIO_InitStruct.Pin = TE_Pin;
  GPIO_InitStruct.Mode = GPIO_MODE_INPUT;
  GPIO_InitStruct.Pull = GPIO_NOPULL;
  HAL_GPIO_Init(TE_GPIO_Port, &GPIO_InitStruct);

  /*Configure GPIO pins : RDX_Pin WRX_DCX_Pin */
  GPIO_InitStruct.Pin = RDX_Pin|WRX_DCX_Pin;
  GPIO_InitStruct.Mode = GPIO_MODE_OUTPUT_PP;
  GPIO_InitStruct.Pull = GPIO_NOPULL;
  GPIO_InitStruct.Speed = GPIO_SPEED_FREQ_LOW;
  HAL_GPIO_Init(GPIOD, &GPIO_InitStruct);

  /*Configure GPIO pins : R7_Pin DOTCLK_Pin B3_Pin */
  GPIO_InitStruct.Pin = R7_Pin|DOTCLK_Pin|B3_Pin;
  GPIO_InitStruct.Mode = GPIO_MODE_AF_PP;
  GPIO_InitStruct.Pull = GPIO_NOPULL;
  GPIO_InitStruct.Speed = GPIO_SPEED_FREQ_LOW;
  GPIO_InitStruct.Alternate = GPIO_AF14_LTDC;
  HAL_GPIO_Init(GPIOG, &GPIO_InitStruct);

  /*Configure GPIO pins : HSYNC_Pin G6_Pin R2_Pin */
  GPIO_InitStruct.Pin = HSYNC_Pin|G6_Pin|R2_Pin;
  GPIO_InitStruct.Mode = GPIO_MODE_AF_PP;
  GPIO_InitStruct.Pull = GPIO_NOPULL;
  GPIO_InitStruct.Speed = GPIO_SPEED_FREQ_LOW;
  GPIO_InitStruct.Alternate = GPIO_AF14_LTDC;
  HAL_GPIO_Init(GPIOC, &GPIO_InitStruct);

  /*Configure GPIO pin : I2C3_SDA_Pin */
  GPIO_InitStruct.Pin = I2C3_SDA_Pin;
  GPIO_InitStruct.Mode = GPIO_MODE_AF_OD;
  GPIO_InitStruct.Pull = GPIO_NOPULL;
  GPIO_InitStruct.Speed = GPIO_SPEED_FREQ_LOW;
  GPIO_InitStruct.Alternate = GPIO_AF4_I2C3;
  HAL_GPIO_Init(I2C3_SDA_GPIO_Port, &GPIO_InitStruct);

  /*Configure GPIO pin : I2C3_SCL_Pin */
  GPIO_InitStruct.Pin = I2C3_SCL_Pin;
  GPIO_InitStruct.Mode = GPIO_MODE_AF_OD;
  GPIO_InitStruct.Pull = GPIO_NOPULL;
  GPIO_InitStruct.Speed = GPIO_SPEED_FREQ_LOW;
  GPIO_InitStruct.Alternate = GPIO_AF4_I2C3;
  HAL_GPIO_Init(I2C3_SCL_GPIO_Port, &GPIO_InitStruct);

  /*Configure GPIO pins : STLINK_RX_Pin STLINK_TX_Pin */
  GPIO_InitStruct.Pin = STLINK_RX_Pin|STLINK_TX_Pin;
  GPIO_InitStruct.Mode = GPIO_MODE_AF_PP;
  GPIO_InitStruct.Pull = GPIO_NOPULL;
  GPIO_InitStruct.Speed = GPIO_SPEED_FREQ_VERY_HIGH;
  GPIO_InitStruct.Alternate = GPIO_AF7_USART1;
  HAL_GPIO_Init(GPIOA, &GPIO_InitStruct);

  /*Configure GPIO pins : G7_Pin B2_Pin */
  GPIO_InitStruct.Pin = G7_Pin|B2_Pin;
  GPIO_InitStruct.Mode = GPIO_MODE_AF_PP;
  GPIO_InitStruct.Pull = GPIO_NOPULL;
  GPIO_InitStruct.Speed = GPIO_SPEED_FREQ_LOW;
  GPIO_InitStruct.Alternate = GPIO_AF14_LTDC;
  HAL_GPIO_Init(GPIOD, &GPIO_InitStruct);

  /*Configure GPIO pins : G3_Pin B4_Pin */
  GPIO_InitStruct.Pin = G3_Pin|B4_Pin;
  GPIO_InitStruct.Mode = GPIO_MODE_AF_PP;
  GPIO_InitStruct.Pull = GPIO_NOPULL;
  GPIO_InitStruct.Speed = GPIO_SPEED_FREQ_LOW;
  GPIO_InitStruct.Alternate = GPIO_AF9_LTDC;
  HAL_GPIO_Init(GPIOG, &GPIO_InitStruct);

  /*Configure GPIO pins : LD3_Pin LD4_Pin */
  GPIO_InitStruct.Pin = LD3_Pin|LD4_Pin;
  GPIO_InitStruct.Mode = GPIO_MODE_OUTPUT_PP;
  GPIO_InitStruct.Pull = GPIO_NOPULL;
  GPIO_InitStruct.Speed = GPIO_SPEED_FREQ_LOW;
  HAL_GPIO_Init(GPIOG, &GPIO_InitStruct);

  /*Configure GPIO pins : SDCKE1_Pin SDNE1_Pin */
  GPIO_InitStruct.Pin = SDCKE1_Pin|SDNE1_Pin;
  GPIO_InitStruct.Mode = GPIO_MODE_AF_PP;
  GPIO_InitStruct.Pull = GPIO_NOPULL;
  GPIO_InitStruct.Speed = GPIO_SPEED_FREQ_VERY_HIGH;
  GPIO_InitStruct.Alternate = GPIO_AF12_FMC;
  HAL_GPIO_Init(GPIOB, &GPIO_InitStruct);

}

/* USER CODE BEGIN 4 */
static void Manager_Task ( void *parameter )
{
  uint32_t xWorkTicketId;
  BaseType_t status;
  /* The semaphore is created in the 'empty' state, meaning the semaphore must
  first be given using the xSemaphoreGive() API function before it can
  subsequently be taken (obtained) */
  xSemaphoreGive( xWork);
  while(1)
  {
    /* Get a Work Ticket ID (some random number) */
    xWorkTicketId = (rand() & 0x1FF);
    /* Sends work ticket id to the work queue */
    status = xQueueSend( xWorkQueue, &xWorkTicketId , portMAX_DELAY ); //Post an item on back of the queue
    if( status != pdPASS )
    {
      SEGGER_SYSVIEW_PrintfTarget("Manager Task: Couldn't Send Data to Queue");
    }
    else
    {
      /* Manager notifying the employee by "Giving" semaphore */
      xSemaphoreGive( xWork);
      SEGGER_SYSVIEW_PrintfTarget("Manager Task: Giving Semaphore with Ticket ID %lu .", xWorkTicketId);
      /* after assigning the work , just yield the processor because nothing to do */
      taskYIELD();
    }
  }
}

static void Employee_Task ( void *parameter )
{
  uint32_t xWorkTicketId;
  BaseType_t status;
  while(1)
  {
    /* First Employee tries to take the semaphore, if it is available that means
    there is a task assigned by manager,otherwise employee task will be blocked*/
    xSemaphoreTake( xWork, 0 );

    /* get the ticket id from the work queue */
    status = xQueueReceive( xWorkQueue, &xWorkTicketId, 0 );

    if( status == pdPASS )
    {
      /* employee may decode the xWorkTicketId in this function to do the work*/
      /* implement the work according to TickedID */
      sprintf(usr_msg,"Employee task : Working on Ticked id : %lu .",xWorkTicketId);
      SEGGER_SYSVIEW_PrintfTarget(usr_msg);
      vTaskDelay(xWorkTicketId);
    }
    else
    {
      /* We did not receive anything from the queue.  This must be an error as this task should only run when the manager assigns at least one work. */
      SEGGER_SYSVIEW_PrintfTarget("Employee Task: Queue is Empty or Nothing to Do.");
    }
  }
}
/* USER CODE END 4 */

void HAL_TIM_PeriodElapsedCallback(TIM_HandleTypeDef *htim)
{
  if (htim->Instance == TIM6) {
    HAL_IncTick();
  }
}

void Error_Handler(void)
{
  __disable_irq();
  while (1)
  {
  }
}
